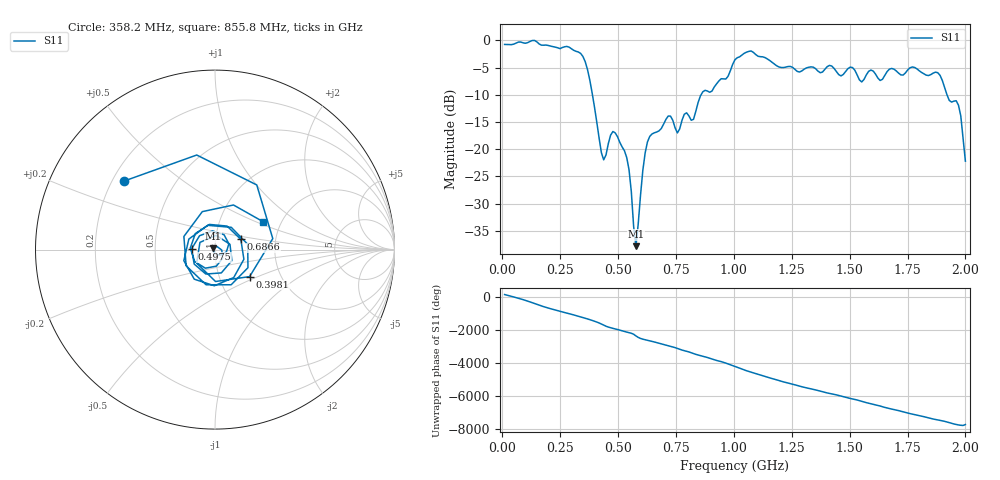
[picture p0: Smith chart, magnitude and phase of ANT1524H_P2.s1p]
!Created with skrf (http://scikit-rf.org).
# Hz S RI R 50.0
!freq ReS11 ImS11
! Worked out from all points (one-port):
!   201 points, 10 MHz to 2 GHz, reference 50 ohm
!   lowest |S11| = -37.8 dB at 577.1 MHz (marker M1), VSWR 1.03, Z = 48.9 + j0.661 ohm
!   |S11| at or under -10 dB: 389.3 MHz to 858.6 MHz (469.2 MHz wide, 75.2 % of centre); 1.92 GHz to end of sweep
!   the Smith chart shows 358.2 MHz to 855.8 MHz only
!   S11 on the Smith chart (normalised r, x): 358.2 MHz: 0.25, +0.32; 398.1 MHz: 1.39, -0.45; 497.6 MHz: 0.77, +0.01; 686.6 MHz: 1.33, +0.16; 855.8 MHz: 1.61, +0.56
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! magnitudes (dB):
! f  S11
! 10 MHz  -0.8
! 258.8 MHz  -1.3
! 358.2 MHz  -3.9
! 398.1 MHz  -12.2
! 437.9 MHz  -22.0
! 467.7 MHz  -17.4
! 497.6 MHz  -17.7
! 507.5 MHz  -18.7
! 547.3 MHz  -23.8
! 577.1 MHz  -37.8
! 607 MHz  -23.9
! 626.9 MHz  -18.7
! 686.6 MHz  -16.2
! 726.4 MHz  -13.9
! 756.2 MHz  -17.0
! 786.1 MHz  -13.6
! 825.9 MHz  -14.5
! 855.8 MHz  -10.2
! 1.005 GHz  -3.6
! 1.075 GHz  -2.0
! 1.254 GHz  -5.0
! 1.502 GHz  -4.9
! 1.552 GHz  -7.7
! 1.751 GHz  -5.4
! 1.881 GHz  -5.9
! 1.96 GHz  -11.1
! 1.98 GHz  -13.9
! 2 GHz  -22.2
